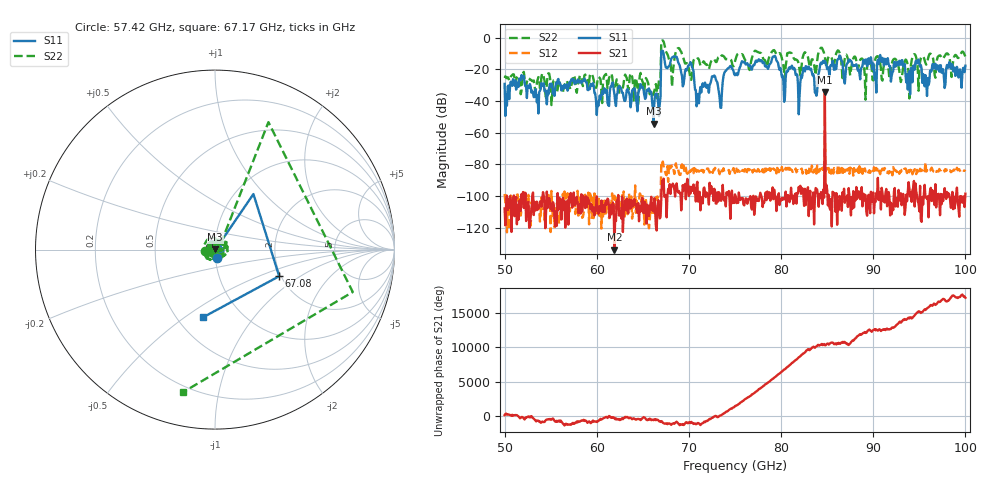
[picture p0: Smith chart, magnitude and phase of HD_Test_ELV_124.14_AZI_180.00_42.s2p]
! 11/25/2026 9:25:29 AM
! C:\ANRITSUVNA\TEMP\TEMP.S2P
! CHANNEL.1
! TR.MEASUREMENT
! RAW.DATA
# HZ S RI R 50.0
! FREQ.HZ  S11RE  S11IM  S21RE  S21IM  S12RE  S12IM  S22RE  S22IM
!; PortSelection: Port_12
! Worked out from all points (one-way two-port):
!   601 points, 50 GHz to 100 GHz, reference 50 ohm
!   highest |S21| = -34.41 dB at 84.75 GHz (marker M1); lowest = -134.0 dB at 61.92 GHz (marker M2)
!   lowest |S11| = -54.4 dB at 66.17 GHz (marker M3), VSWR 1.00, Z = 50.1 + j0.15 ohm
!   |S11| at or under -10 dB: start of sweep to 67 GHz; 67.24 GHz to end of sweep
!   |S22| runs from -42.6 to -1.8 dB; largest |S21 - S12| = 0.019
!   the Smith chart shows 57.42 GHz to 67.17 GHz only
!   S11 on the Smith chart (normalised r, x): 57.42 GHz: 1.02, -0.10; 67.08 GHz: 1.96, -0.68; 67.17 GHz: 0.67, -0.59
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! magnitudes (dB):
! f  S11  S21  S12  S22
! 50 GHz  -29.2  -108.0  -98.8  -25.4
! 57.42 GHz  -26.3  -103.3  -105.0  -25.2
! 58.42 GHz  -27.2  -110.0  -113.9  -29.0
! 60.17 GHz  -43.2  -111.3  -100.0  -24.8
! 61.92 GHz  -35.9  -134.0  -99.9  -31.2
! 66.17 GHz  -54.4  -109.9  -112.4  -35.4
! 66.67 GHz  -41.9  -102.6  -104.5  -32.1
! 67.08 GHz  -8.2  -90.5  -81.7  -1.9
! 67.17 GHz  -8.4  -93.6  -78.3  -1.8
! 70.17 GHz  -15.4  -98.4  -84.6  -25.7
! 70.92 GHz  -40.6  -91.1  -83.9  -13.3
! 75 GHz  -23.7  -99.1  -85.6  -15.0
! 79.25 GHz  -11.8  -96.0  -83.4  -7.9
! 80.25 GHz  -27.6  -101.5  -83.3  -17.6
! 83.42 GHz  -23.8  -103.7  -82.6  -13.6
! 83.83 GHz  -36.7  -95.5  -85.9  -19.5
! 84.75 GHz  -14.7  -34.4  -59.3  -11.8
! 91.67 GHz  -16.7  -97.6  -85.8  -20.4
! 93.75 GHz  -32.8  -97.7  -83.1  -17.2
! 94.83 GHz  -15.0  -103.5  -84.8  -20.3
! 95.83 GHz  -36.9  -101.8  -83.7  -15.9
! 100 GHz  -17.7  -98.6  -84.5  -12.2
